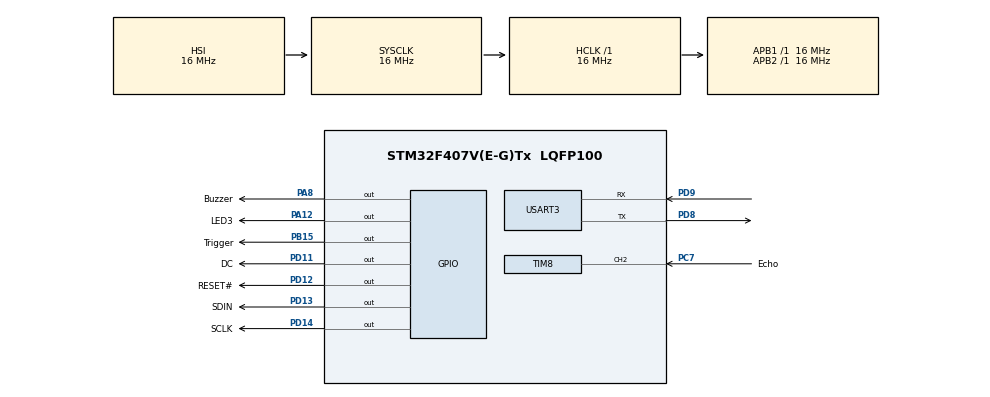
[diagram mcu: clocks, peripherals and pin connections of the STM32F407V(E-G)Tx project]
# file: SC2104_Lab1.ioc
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Mcu.Family=STM32F4
Mcu.Name=STM32F407V(E-G)Tx
Mcu.Package=LQFP100
NVIC.PriorityGroup=NVIC_PRIORITYGROUP_4
NVIC.TIM8_CC_IRQn=true\:0\:0\:false\:false\:true\:true\:true\:true
PA12.GPIO_Label=LED3
PA12.Signal=GPIO_Output
PA8.GPIO_Label=Buzzer
PA8.Signal=GPIO_Output
PB15.GPIO_Label=Trigger
PB15.Signal=GPIO_Output
PC7.GPIO_Label=Echo
PC7.Signal=S_TIM8_CH2
PD11.GPIO_Label=DC
PD11.Signal=GPIO_Output
PD12.GPIO_Label=RESET\#
PD12.Signal=GPIO_Output
PD13.GPIO_Label=SDIN
PD13.Signal=GPIO_Output
PD14.GPIO_Label=SCLK
PD14.Signal=GPIO_Output
PD8.Mode=Asynchronous
PD8.Signal=USART3_TX
PD9.Mode=Asynchronous
PD9.Signal=USART3_RX
ProjectManager.HeapSize=0x200
ProjectManager.StackSize=0x400
ProjectManager.TargetToolchain=STM32CubeIDE
RCC.AHBFreq_Value=16000000
RCC.APB1Freq_Value=16000000
RCC.APB2Freq_Value=16000000
RCC.CortexFreq_Value=16000000
RCC.HSE_VALUE=25000000
RCC.HSI_VALUE=16000000
RCC.LSE_VALUE=32768
RCC.SYSCLKFreq_VALUE=16000000
RCC.VCOOutputFreq_Value=192000000
SH.S_TIM8_CH2.0=TIM8_CH2,Input_Capture2_from_TI2
TIM8.Channel-Input_Capture2_from_TI2=TIM_CHANNEL_2
USART3.VirtualMode=VM_ASYNC
VP_TIM6_VS_ClockSourceINT.Mode=Enable_Timer
VP_TIM8_VS_ClockSourceINT.Mode=Internal
board=custom

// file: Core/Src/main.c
/* USER CODE BEGIN Header */
/**
  ******************************************************************************
  * @file           : main.c
  * @brief          : Main program body
  ******************************************************************************
  * @attention
  *
  * Copyright (c) 2023 STMicroelectronics.
  * All rights reserved.
  *
  * This software is licensed under terms that can be found in the LICENSE file
  * in the root directory of this software component.
  * If no LICENSE file comes with this software, it is provided AS-IS.
  *
  ******************************************************************************
  */
/* USER CODE END Header */
#include "main.h"

/* USER CODE BEGIN Includes */
#include "oled.h"
#include <stdio.h>
/* USER CODE END Includes */

TIM_HandleTypeDef htim6;
TIM_HandleTypeDef htim8;

UART_HandleTypeDef huart3;

void SystemClock_Config(void);
static void MX_GPIO_Init(void);
static void MX_USART3_UART_Init(void);
static void MX_TIM6_Init(void);
static void MX_TIM8_Init(void);
/* USER CODE BEGIN PFP */
void UltraSonic(void);
/* USER CODE END PFP */

int main(void)
{
  /* USER CODE BEGIN 1 */
	uint8_t sbuf[15]="Hello World\n\r";
  /* USER CODE END 1 */

  /* MCU Configuration--------------------------------------------------------*/

  /* Reset of all peripherals, Initializes the Flash interface and the Systick. */
  HAL_Init();

  /* Configure the system clock */
  SystemClock_Config();

  /* Initialize all configured peripherals */
  MX_GPIO_Init();
  MX_USART3_UART_Init();
  MX_TIM6_Init();
  MX_TIM8_Init();
  /* USER CODE BEGIN 2 */
  OLED_Init();
  OLED_ShowString(10, 5, "CE3002");

  uint8_t *obuf = "Lab 1";
  OLED_ShowString(40,30, obuf);
  OLED_Refresh_Gram();

  HAL_GPIO_TogglePin(GPIOA, GPIO_PIN_8);
  HAL_Delay(500);
  HAL_GPIO_TogglePin(GPIOA, GPIO_PIN_8);
  /* USER CODE END 2 */

  /* Infinite loop */
  /* USER CODE BEGIN WHILE */
  while (1)
  {
	HAL_GPIO_TogglePin(GPIOA, GPIO_PIN_12);
	HAL_UART_Transmit(&huart3, sbuf, sizeof(sbuf), 5);
	UltraSonic();
	HAL_Delay(500);

    /* USER CODE END WHILE */

  }
}

void SystemClock_Config(void)
{
  RCC_OscInitTypeDef RCC_OscInitStruct = {0};
  RCC_ClkInitTypeDef RCC_ClkInitStruct = {0};

  /** Configure the main internal regulator output voltage
  */
  __HAL_RCC_PWR_CLK_ENABLE();
  __HAL_PWR_VOLTAGESCALING_CONFIG(PWR_REGULATOR_VOLTAGE_SCALE1);

  /** Initializes the RCC Oscillators according to the specified parameters
  * in the RCC_OscInitTypeDef structure.
  */
  RCC_OscInitStruct.OscillatorType = RCC_OSCILLATORTYPE_HSI;
  RCC_OscInitStruct.HSIState = RCC_HSI_ON;
  RCC_OscInitStruct.HSICalibrationValue = RCC_HSICALIBRATION_DEFAULT;
  RCC_OscInitStruct.PLL.PLLState = RCC_PLL_NONE;
  if (HAL_RCC_OscConfig(&RCC_OscInitStruct) != HAL_OK)
  {
    Error_Handler();
  }

  /** Initializes the CPU, AHB and APB buses clocks
  */
  RCC_ClkInitStruct.ClockType = RCC_CLOCKTYPE_HCLK|RCC_CLOCKTYPE_SYSCLK
                              |RCC_CLOCKTYPE_PCLK1|RCC_CLOCKTYPE_PCLK2;
  RCC_ClkInitStruct.SYSCLKSource = RCC_SYSCLKSOURCE_HSI;
  RCC_ClkInitStruct.AHBCLKDivider = RCC_SYSCLK_DIV1;
  RCC_ClkInitStruct.APB1CLKDivider = RCC_HCLK_DIV1;
  RCC_ClkInitStruct.APB2CLKDivider = RCC_HCLK_DIV1;

  if (HAL_RCC_ClockConfig(&RCC_ClkInitStruct, FLASH_LATENCY_0) != HAL_OK)
  {
    Error_Handler();
  }
}

static void MX_TIM6_Init(void)
{

  TIM_MasterConfigTypeDef sMasterConfig = {0};

  htim6.Instance = TIM6;
  htim6.Init.Prescaler = 0;
  htim6.Init.CounterMode = TIM_COUNTERMODE_UP;
  htim6.Init.Period = 65535;
  htim6.Init.AutoReloadPreload = TIM_AUTORELOAD_PRELOAD_DISABLE;
  if (HAL_TIM_Base_Init(&htim6) != HAL_OK)
  {
    Error_Handler();
  }
  sMasterConfig.MasterOutputTrigger = TIM_TRGO_RESET;
  sMasterConfig.MasterSlaveMode = TIM_MASTERSLAVEMODE_DISABLE;
  if (HAL_TIMEx_MasterConfigSynchronization(&htim6, &sMasterConfig) != HAL_OK)
  {
    Error_Handler();
  }

}

static void MX_TIM8_Init(void)
{

  TIM_ClockConfigTypeDef sClockSourceConfig = {0};
  TIM_MasterConfigTypeDef sMasterConfig = {0};
  TIM_IC_InitTypeDef sConfigIC = {0};

  htim8.Instance = TIM8;
  htim8.Init.Prescaler = 0;
  htim8.Init.CounterMode = TIM_COUNTERMODE_UP;
  htim8.Init.Period = 65535;
  htim8.Init.ClockDivision = TIM_CLOCKDIVISION_DIV1;
  htim8.Init.RepetitionCounter = 0;
  htim8.Init.AutoReloadPreload = TIM_AUTORELOAD_PRELOAD_DISABLE;
  if (HAL_TIM_Base_Init(&htim8) != HAL_OK)
  {
    Error_Handler();
  }
  sClockSourceConfig.ClockSource = TIM_CLOCKSOURCE_INTERNAL;
  if (HAL_TIM_ConfigClockSource(&htim8, &sClockSourceConfig) != HAL_OK)
  {
    Error_Handler();
  }
  if (HAL_TIM_IC_Init(&htim8) != HAL_OK)
  {
    Error_Handler();
  }
  sMasterConfig.MasterOutputTrigger = TIM_TRGO_RESET;
  sMasterConfig.MasterSlaveMode = TIM_MASTERSLAVEMODE_DISABLE;
  if (HAL_TIMEx_MasterConfigSynchronization(&htim8, &sMasterConfig) != HAL_OK)
  {
    Error_Handler();
  }
  sConfigIC.ICPolarity = TIM_INPUTCHANNELPOLARITY_RISING;
  sConfigIC.ICSelection = TIM_ICSELECTION_DIRECTTI;
  sConfigIC.ICPrescaler = TIM_ICPSC_DIV1;
  sConfigIC.ICFilter = 0;
  if (HAL_TIM_IC_ConfigChannel(&htim8, &sConfigIC, TIM_CHANNEL_2) != HAL_OK)
  {
    Error_Handler();
  }

}

static void MX_USART3_UART_Init(void)
{

  huart3.Instance = USART3;
  huart3.Init.BaudRate = 115200;
  huart3.Init.WordLength = UART_WORDLENGTH_8B;
  huart3.Init.StopBits = UART_STOPBITS_1;
  huart3.Init.Parity = UART_PARITY_NONE;
  huart3.Init.Mode = UART_MODE_TX_RX;
  huart3.Init.HwFlowCtl = UART_HWCONTROL_NONE;
  huart3.Init.OverSampling = UART_OVERSAMPLING_16;
  if (HAL_UART_Init(&huart3) != HAL_OK)
  {
    Error_Handler();
  }

}

static void MX_GPIO_Init(void)
{
  GPIO_InitTypeDef GPIO_InitStruct = {0};

  /* GPIO Ports Clock Enable */
  __HAL_RCC_GPIOB_CLK_ENABLE();
  __HAL_RCC_GPIOD_CLK_ENABLE();
  __HAL_RCC_GPIOC_CLK_ENABLE();
  __HAL_RCC_GPIOA_CLK_ENABLE();

  /*Configure GPIO pin Output Level */
  HAL_GPIO_WritePin(Trigger_GPIO_Port, Trigger_Pin, GPIO_PIN_RESET);

  /*Configure GPIO pin Output Level */
  HAL_GPIO_WritePin(GPIOD, DC_Pin|RESET__Pin|SDIN_Pin|SCLK_Pin, GPIO_PIN_RESET);

  /*Configure GPIO pin Output Level */
  HAL_GPIO_WritePin(GPIOA, Buzzer_Pin|LED3_Pin, GPIO_PIN_RESET);

  /*Configure GPIO pin : Trigger_Pin */
  GPIO_InitStruct.Pin = Trigger_Pin;
  GPIO_InitStruct.Mode = GPIO_MODE_OUTPUT_PP;
  GPIO_InitStruct.Pull = GPIO_NOPULL;
  GPIO_InitStruct.Speed = GPIO_SPEED_FREQ_LOW;
  HAL_GPIO_Init(Trigger_GPIO_Port, &GPIO_InitStruct);

  /*Configure GPIO pins : DC_Pin RESET__Pin SDIN_Pin SCLK_Pin */
  GPIO_InitStruct.Pin = DC_Pin|RESET__Pin|SDIN_Pin|SCLK_Pin;
  GPIO_InitStruct.Mode = GPIO_MODE_OUTPUT_PP;
  GPIO_InitStruct.Pull = GPIO_NOPULL;
  GPIO_InitStruct.Speed = GPIO_SPEED_FREQ_LOW;
  HAL_GPIO_Init(GPIOD, &GPIO_InitStruct);

  /*Configure GPIO pins : Buzzer_Pin LED3_Pin */
  GPIO_InitStruct.Pin = Buzzer_Pin|LED3_Pin;
  GPIO_InitStruct.Mode = GPIO_MODE_OUTPUT_PP;
  GPIO_InitStruct.Pull = GPIO_NOPULL;
  GPIO_InitStruct.Speed = GPIO_SPEED_FREQ_LOW;
  HAL_GPIO_Init(GPIOA, &GPIO_InitStruct);

}

/* USER CODE BEGIN 4 */
void HAL_TIM_IC_CaptureCallback(TIM_HandleTypeDef *htim){
	static int tc1, tc2, first=0, echo = 0;
	char buf[15];

	if(htim==&htim8){
		if (first == 0){
			tc1 = HAL_TIM_ReadCapturedValue(htim, TIM_CHANNEL_2);
			first=1;
			__HAL_TIM_SET_CAPTUREPOLARITY(htim, TIM_CHANNEL_2, TIM_INPUTCHANNELPOLARITY_FALLING);
		} else if (first == 1){
			tc2 = HAL_TIM_ReadCapturedValue(htim, TIM_CHANNEL_2);
			__HAL_TIM_SET_COUNTER(htim, 0);

			if(tc2 >= tc1){
				echo = tc2 - tc1;
			} else{
				echo = (0xffff - tc1) + tc2;
			}

			sprintf(buf, "Echo = %5dus", echo);
			OLED_ShowString(10, 40, &buf[0]);

			sprintf(buf, "Dist = %5.1fcm", echo * 343/2);
			OLED_ShowString(10, 50, &buf[0]);
			OLED_Refresh_Gram();

			first=0;
			__HAL_TIM_SET_CAPTUREPOLARITY(htim, TIM_CHANNEL_2, TIM_INPUTCHANNELPOLARITY_RISING);
			HAL_TIM_IC_Stop_IT(&htim8, TIM_CHANNEL_2);
		}
	}
}
void UltraSonic(void){
	HAL_GPIO_WritePin(GPIOB, GPIO_PIN_15, GPIO_PIN_RESET);
	HAL_Delay(50);

	HAL_TIM_Base_Start(&htim6);
	HAL_TIM_IC_Start_IT(&htim8, TIM_CHANNEL_2);
	__HAL_TIM_SET_CAPTUREPOLARITY(&htim8, TIM_CHANNEL_2, TIM_INPUTCHANNELPOLARITY_RISING);

	HAL_GPIO_WritePin(GPIOB, GPIO_PIN_15, GPIO_PIN_SET);
	__HAL_TIM_SET_COUNTER(&htim6, 0);
	while(__HAL_TIM_GET_COUNTER(&htim6)<=10);
	HAL_GPIO_WritePin(GPIOB, GPIO_PIN_15, GPIO_PIN_RESET);
}

/* USER CODE END 4 */

void Error_Handler(void)
{
  __disable_irq();
  while (1)
  {
  }
}
